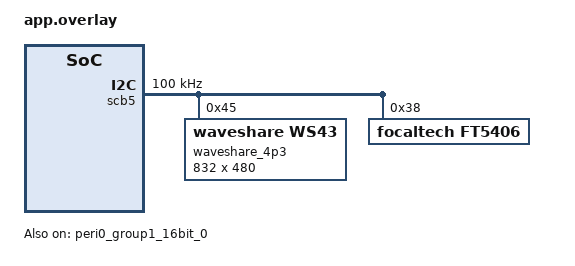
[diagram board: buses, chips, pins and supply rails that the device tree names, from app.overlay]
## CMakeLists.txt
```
cmake_minimum_required(VERSION 3.20.0)
find_package(Zephyr REQUIRED HINTS $ENV{ZEPHYR_BASE})
project(psoc_e84_kalman_horizon)

# Reuse the proven display pipeline from Chapter 017 and FT5406 driver from
# Chapter 018.  This chapter owns only the animated LVGL application.
set(DISPLAY_CHAPTER ${CMAKE_CURRENT_SOURCE_DIR}/../017_LVGL_Waveshare_4_3_Display)
set(TOUCH_CHAPTER ${CMAKE_CURRENT_SOURCE_DIR}/../018_LVGL_Waveshare_Touch_Input)
set(IFX_PDL ${ZEPHYR_HAL_INFINEON_MODULE_DIR}/mtb-dsl-pse8xxgp/pdl)
set(IFX_GFX ${IFX_PDL}/drivers/third_party/COMPONENT_GFXSS)

target_sources(app PRIVATE
  src/main.c
  src/attitude.c
  src/flight_math.c
  src/horizon_draw.c
  src/magnetometer.c
  src/sensor_bus_recovery.c
  vendor/bmm350/bmm350.c
  ${IFX_PDL}/drivers/source/cy_i3c.c
  ${TOUCH_CHAPTER}/src/ft5406_touch.c
  ${DISPLAY_CHAPTER}/src/waveshare_4p3_display.c
  ${IFX_PDL}/drivers/source/cy_mipidsi.c
  ${IFX_GFX}/cy_graphics.c
  ${IFX_GFX}/vsi/dcnano8000/DCUser/rtos/viv_dc_interface.c
  ${IFX_GFX}/vsi/dcnano8000/DCUser/rtos/viv_dc_os.c
  ${IFX_GFX}/vsi/dcnano8000/DCUser/viv_dc_setting.c
  ${IFX_GFX}/vsi/dcnano8000/DCUser/viv_dc_tools.c
  ${IFX_GFX}/vsi/dcnano8000/DCUser/viv_dc_util.c
  ${IFX_GFX}/vsi/dcnano8000/DCKernel/rtos/viv_dc_platform.c
  ${IFX_GFX}/vsi/dcnano8000/DCKernel/hardware/8000Nano/viv_dc_hardware.c
  ${IFX_GFX}/vsi/dcnano8000/DCKernel/viv_dc_core.c
  ${IFX_GFX}/vsi/dcnano8000/DCKernel/viv_dc_database.c
  ${IFX_GFX}/vsi/dcnano8000/DCKernel/dc_layer_feature.c
  ${IFX_GFX}/vsi/dcnano8000/DCKernel/viv_dc_lcd.c
  ${IFX_GFX}/vsi/dcnano8000/DCKernel/viv_dc_shell.c)

zephyr_include_directories(
  ${CMAKE_CURRENT_SOURCE_DIR}/vendor/bmm350
  ${TOUCH_CHAPTER}/src
  ${DISPLAY_CHAPTER}/src
  ${IFX_PDL}/devices/include
  ${IFX_PDL}/devices/include/ip
  ${IFX_PDL}/drivers/include
  ${IFX_GFX}
  ${IFX_GFX}/vsi/dcnano8000/include
  ${IFX_GFX}/vsi/dcnano8000/DCKernel
  ${IFX_GFX}/vsi/dcnano8000/DCKernel/hardware/8000Nano
  ${IFX_GFX}/vsi/dcnano8000/DCKernel/rtos
  ${IFX_GFX}/vsi/dcnano8000/DCUser
  ${IFX_GFX}/vsi/dcnano8000/DCUser/rtos)

target_compile_definitions(app PRIVATE
  PSE846GPS2DBZC4A COMPONENT_55500 COMPONENT_55500A1 COMPONENT_CM55
  COMPONENT_CM55_0 COMPONENT_GFXSS COMPONENT_NON_SECURE_DEVICE _BAREMETAL=0)
target_compile_options(app PRIVATE -include cy_pdl.h)
```

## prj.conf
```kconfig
CONFIG_CONSOLE=y
CONFIG_UART_CONSOLE=y
CONFIG_PRINTK=y
CONFIG_LOG=y
CONFIG_LOG_DEFAULT_LEVEL=2
CONFIG_LOG_PROCESS_THREAD_SLEEP_MS=10
CONFIG_I2C=y
CONFIG_SENSOR=y
CONFIG_BMI270=y
CONFIG_DPS310=y
CONFIG_DISPLAY=y
CONFIG_LVGL=y
CONFIG_LV_Z_AUTO_INIT=n
CONFIG_LV_Z_MEM_POOL_SIZE=65536
CONFIG_ASSERT=y
CONFIG_LV_COLOR_DEPTH_16=y
CONFIG_LV_Z_BUFFER_ALLOC_STATIC=y
CONFIG_LV_Z_VDB_ZEPHYR_REGION=y
CONFIG_LV_Z_VDB_ZEPHYR_REGION_NAME="GFX_MEM"
CONFIG_LV_Z_VDB_SIZE=100
CONFIG_LV_Z_FULL_REFRESH=y
CONFIG_LV_Z_VDB_ALIGN=128
CONFIG_LV_Z_DOUBLE_VDB=y
CONFIG_HEAP_MEM_POOL_SIZE=16384
CONFIG_MAIN_STACK_SIZE=8192
CONFIG_CRC=y
CONFIG_LV_FONT_MONTSERRAT_20=y
CONFIG_LV_FONT_MONTSERRAT_28=y
CONFIG_LV_USE_IMAGE=y
CONFIG_SPEED_OPTIMIZATIONS=y
CONFIG_PICOLIBC_IO_FLOAT=y
```

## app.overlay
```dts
/ {
	chosen { zephyr,display = &waveshare_4p3; };

	reserved-memory {
		#address-cells = <1>;
		#size-cells = <1>;
		ranges;
		gfx_mem: memory@26200000 {
			compatible = "zephyr,memory-region", "mmio-sram";
			zephyr,memory-region = "GFX_MEM";
			reg = <0x26200000 0x00300000>;
		};
	};
};

&p17_0_scb5_i2c_scl { drive-open-drain; input-enable; };
&p17_1_scb5_i2c_sda { drive-open-drain; input-enable; };
&peri0_group1_16bit_0 { status = "okay"; clock-div = <32>; };

&scb5 {
	compatible = "infineon,i2c";
	status = "okay";
	clocks = <&peri0_group1_16bit_0>;
	clock-frequency = <100000>;
	pinctrl-0 = <&p17_0_scb5_i2c_scl &p17_1_scb5_i2c_sda>;
	pinctrl-names = "default";
	#address-cells = <1>;
	#size-cells = <0>;

	waveshare_4p3: display@45 {
		compatible = "waveshare,ws43";
		reg = <0x45>;
		width = <832>;
		height = <480>;
		status = "okay";
	};

	ft5406: touch@38 {
		compatible = "focaltech,ft5406";
		reg = <0x38>;
		status = "okay";
	};
};
```

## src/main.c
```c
#include <zephyr/drivers/display.h>
#include <zephyr/drivers/sensor.h>
#include <zephyr/drivers/uart.h>
#include <zephyr/init.h>
#include <zephyr/kernel.h>
#include <zephyr/sys/crc.h>
#include <cy_sysclk.h>
#include <lvgl.h>
#include <lvgl_zephyr.h>
#include <math.h>
#include <stdio.h>
#include <string.h>
#include "attitude.h"
#include "flight_math.h"
#include "magnetometer.h"
#include "horizon_draw.h"
#include "ft5406_touch.h"
#include "waveshare_4p3_display.h"

static const struct device *display = DEVICE_DT_GET(DT_CHOSEN(zephyr_display));
static const struct device *imu = DEVICE_DT_GET(DT_ALIAS(accel0));
static const struct device *pressure = DEVICE_DT_GET(DT_ALIAS(pressure_sensor));
static K_MUTEX_DEFINE(state_lock);
static K_THREAD_STACK_DEFINE(sensor_stack, 4096);
static K_THREAD_STACK_DEFINE(mag_stack, 4096);
static K_THREAD_STACK_DEFINE(baro_stack, 2048);
static struct k_thread sensor_thread;
static struct k_thread mag_thread;
static struct k_thread baro_thread;
static struct attitude estimator;
static struct cockpit_frame frame;
static struct baro_filter baro;
struct telemetry {
    struct magnetometer_status mag;
    float roll, pitch, yaw, g, gyro[3];
    float pressure_kpa, temperature, altitude_m, climb_mps;
    float reference_kpa;
    uint32_t baro_samples, baro_errors, zeros;
    int64_t baro_ms;
    int baro_ret;
    uint32_t samples, corrections, rejected, calibration_count, calibrations;
    int64_t sample_ms;
    int ret;
    bool calibrated, calibrating, ground_frame;
};
static struct telemetry state;
static bool request_calibration = true;
static bool held;
static int64_t zero_message_until;
static uint32_t renders, raster_crc, render_us;
static uint16_t horizon_pixels[HORIZON_SIZE * HORIZON_SIZE]
    __attribute__((section("GFX_MEM"), aligned(128)));
static const lv_image_dsc_t horizon_bitmap = {
    .header = {.magic=LV_IMAGE_HEADER_MAGIC, .cf=LV_COLOR_FORMAT_RGB565,
               .w=HORIZON_SIZE, .h=HORIZON_SIZE, .stride=HORIZON_SIZE*2},
    .data_size=sizeof(horizon_pixels), .data=(const uint8_t *)horizon_pixels,
};
static lv_obj_t *horizon, *roll_label, *pitch_label, *yaw_label, *g_label;
static lv_obj_t *gyro_label, *status_label, *hold_label, *rate_label;
static lv_obj_t *mag_label, *mag_note;
static lv_obj_t *alt_label, *climb_label, *pressure_label, *baro_note;
static lv_obj_t *heading_lines[24], *heading_labels[4];
static lv_point_precise_t heading_ticks[24][2];
/* Fixed lubber marker and aircraft symbol: these are never rotated. */
static const lv_point_precise_t heading_marker[]={{70,3},{76,11},{82,3}};
static const lv_point_precise_t heading_body[]={{76,60},{76,96}};
static const lv_point_precise_t heading_wings[]={{53,78},{99,78}};
static const lv_point_precise_t heading_tail[]={{67,92},{85,92}};
static float displayed_heading;

static int display_clock_metadata_init(void)
{ Cy_SysClk_EcoSetFrequency(17203200U); return 0; }
SYS_INIT(display_clock_metadata_init, PRE_KERNEL_1, 0);

static float value(const struct sensor_value *v)
{ return (float)v->val1 + (float)v->val2 * 0.000001f; }

static struct telemetry snapshot(void)
{
    k_mutex_lock(&state_lock,K_FOREVER);
    struct telemetry copy=state;
    k_mutex_unlock(&state_lock);
    return copy;
}

static void baro_worker(void *a0, void *a1, void *a2)
{
    ARG_UNUSED(a0); ARG_UNUSED(a1); ARG_UNUSED(a2);
    int64_t previous=0,next=k_uptime_get();
    while(true) {
        struct sensor_value pv,tv;
        /* Driver conversion sleeps here, never inside the 100 Hz IMU task.
         * SCB0 driver serializes individual transfers shared with BMI270. */
        int ret=device_is_ready(pressure)?sensor_sample_fetch(pressure):-ENODEV;
        if(!ret) ret=sensor_channel_get(pressure,SENSOR_CHAN_PRESS,&pv);
        if(!ret) ret=sensor_channel_get(pressure,SENSOR_CHAN_AMBIENT_TEMP,&tv);
        int64_t now=k_uptime_get();
        k_mutex_lock(&state_lock,K_FOREVER);
        if(!ret) {
            float dt=previous?(now-previous)*0.001f:0.1f;
            if(dt>60) dt=60;
            if(baro_update(&baro,value(&pv),dt)) {
                state.pressure_kpa=value(&pv); state.temperature=value(&tv);
                state.altitude_m=baro.altitude_m; state.climb_mps=baro.climb_mps;
                state.reference_kpa=baro.reference_kpa;
                state.baro_ms=now; state.baro_samples++; previous=now;
            } else ret=-ERANGE;
        }
        state.baro_ret=ret;
        if(ret) state.baro_errors++;
        k_mutex_unlock(&state_lock);
        next+=100;
        int64_t wait=next-k_uptime_get();
        if(wait>0) k_msleep((int32_t)wait);
        else { next=k_uptime_get(); k_msleep(10); }
    }
}

static void mag_worker(void *a0, void *a1, void *a2)
{
    ARG_UNUSED(a0); ARG_UNUSED(a1); ARG_UNUSED(a2);
    /* The PDL's blocking CCC/FIFO-reset paths have their own timeout.
     * Keep them below both the IMU and UI priorities, on a dedicated bus. */
    magnetometer_init();
    while (true) {
        magnetometer_read();
        struct magnetometer_status s;
        magnetometer_status(&s);
        k_mutex_lock(&state_lock,K_FOREVER);
        state.mag=s;
        k_mutex_unlock(&state_lock);
        k_msleep(5);
    }
}

static void sample_worker(void *a0, void *a1, void *a2)
{
    ARG_UNUSED(a0); ARG_UNUSED(a1); ARG_UNUSED(a2);
    float bias[3]={0}, sums[3]={0};
    int64_t last_us=0, next_ms=k_uptime_get();
    while (true) {
        struct sensor_value av[3], wv[3];
        int ret=sensor_sample_fetch(imu);
        if (!ret) ret=sensor_channel_get(imu,SENSOR_CHAN_ACCEL_XYZ,av);
        if (!ret) ret=sensor_channel_get(imu,SENSOR_CHAN_GYRO_XYZ,wv);
        int64_t now_us=k_ticks_to_us_floor64(k_uptime_ticks());
        k_mutex_lock(&state_lock,K_FOREVER);
        state.ret=ret;
        if (!ret) {
            float acc[3], raw[3], gyro[3];
            for(int i=0;i<3;i++) { acc[i]=value(&av[i])/9.80665f; raw[i]=value(&wv[i]); }
            if (request_calibration) {
                request_calibration=false; state.calibrating=true;
                state.calibration_count=0; memset(sums,0,sizeof(sums));
            }
            float norm=sqrtf(acc[0]*acc[0]+acc[1]*acc[1]+acc[2]*acc[2]);
            float rate=sqrtf(raw[0]*raw[0]+raw[1]*raw[1]+raw[2]*raw[2]);
            if (state.calibrating) {
                if (norm>0.97f && norm<1.03f && rate<0.0873f) {
                    for(int i=0;i<3;i++) sums[i]+=raw[i];
                    if (++state.calibration_count>=100) {
                        for(int i=0;i<3;i++) bias[i]=sums[i]/100.0f;
                        state.calibrating=false; state.calibrated=true;
                        state.calibrations++;
                        attitude_reset(&estimator);
                    }
                } else { state.calibration_count=0; memset(sums,0,sizeof(sums)); }
            }
            for(int i=0;i<3;i++) gyro[i]=raw[i]-bias[i];
            cockpit_apply(&frame,acc,acc);
            cockpit_apply(&frame,gyro,gyro);
            cockpit_to_pilot(gyro,state.gyro);
            for(int i=0;i<3;i++) state.gyro[i]*=57.2957795f;
            float dt=last_us?(now_us-last_us)*0.000001f:0.01f;
            if (attitude_update(&estimator,acc,gyro,dt)) {
                float filtered[3]={estimator.roll.angle,estimator.pitch.angle,estimator.yaw};
                float pilot[3]; cockpit_to_pilot(filtered,pilot);
                state.roll=pilot[0]; state.pitch=pilot[1]; state.yaw=pilot[2];
                state.g=estimator.g;
                state.corrections+=estimator.accel_used;
                state.samples++; state.sample_ms=k_uptime_get();
            } else { state.rejected++; state.ret=-ERANGE; }
        }
        last_us=now_us;
        k_mutex_unlock(&state_lock);
        next_ms+=10;
        int64_t delay=next_ms-k_uptime_get();
        if(delay>0) k_msleep((int32_t)delay);
        else { next_ms=k_uptime_get(); k_msleep(1); }
    }
}

static bool zero_view(void)
{
    k_mutex_lock(&state_lock,K_FOREVER);
    bool valid=estimator.initialized && state.samples && !state.ret && !state.calibrating &&
               k_uptime_get()-state.sample_ms<150;
    if(valid) {
        /* Reference rotation operates in filter coordinates, not pilot signs. */
        cockpit_zero(&frame,estimator.roll.angle,estimator.pitch.angle);
        attitude_reset(&estimator);
        state.roll=state.pitch=state.yaw=0;
        state.zeros++;
        state.ground_frame=true;
        if(state.baro_samples && !state.baro_ret && k_uptime_get()-state.baro_ms<500) {
            baro_zero(&baro,state.pressure_kpa);
            state.altitude_m=state.climb_mps=0;
            state.reference_kpa=baro.reference_kpa;
        }
    }
    k_mutex_unlock(&state_lock);
    if(valid) { held=false; zero_message_until=k_uptime_get()+3000; }
    return valid;
}

static void upright_view(void)
{
    k_mutex_lock(&state_lock,K_FOREVER);
    cockpit_upright(&frame); attitude_reset(&estimator);
    state.ground_frame=false;
    k_mutex_unlock(&state_lock);
    held=false;
}
static void calibrate(void)
{
    k_mutex_lock(&state_lock,K_FOREVER);
    request_calibration=true; state.calibrating=true;
    k_mutex_unlock(&state_lock);
}
static void button_event(lv_event_t *event)
{
    intptr_t action=(intptr_t)lv_event_get_user_data(event);
    if(action==0 && !zero_view()) { printk("FAIL HORIZON ZERO_NOT_READY\n"); return; }
    if(action==1) calibrate();
    if(action==2) { held=!held; lv_label_set_text(hold_label,held?"RESUME":"HOLD VIEW"); }
    if(action==3) upright_view();
    lv_label_set_text(hold_label,held?"RESUME":"HOLD VIEW");
    printk("OK HORIZON TOUCH action=%d\n",(int)action);
}

static lv_obj_t *label(lv_obj_t *parent, const char *text, int x, int y,
                       const lv_font_t *font, uint32_t color)
{
    lv_obj_t *obj=lv_label_create(parent);
    lv_label_set_text(obj,text); lv_obj_set_pos(obj,x,y);
    lv_obj_set_style_text_font(obj,font,0);
    lv_obj_set_style_text_color(obj,lv_color_hex(color),0);
    return obj;
}
static lv_obj_t *card(lv_obj_t *screen,int x,int y,int w,int h,const char *title)
{
    lv_obj_t *obj=lv_obj_create(screen);
    lv_obj_set_pos(obj,x,y); lv_obj_set_size(obj,w,h);
    lv_obj_set_style_pad_all(obj,12,0);
    lv_obj_set_style_radius(obj,12,0);
    lv_obj_set_style_border_width(obj,1,0);
    lv_obj_set_style_border_color(obj,lv_color_hex(0x23384D),0);
    lv_obj_set_style_bg_color(obj,lv_color_hex(0x0C141F),0);
    lv_obj_remove_flag(obj,LV_OBJ_FLAG_SCROLLABLE);
    label(obj,title,0,0,LV_FONT_DEFAULT,0x7F9AB4);
    return obj;
}

static void update_heading(float heading)
{
    for(int i=0;i<24;i++) {
        float p[2];
        cockpit_card_point(heading,i*15.0f,i%6?64:59,p);
        heading_ticks[i][0]=(lv_point_precise_t){76+p[0],76+p[1]};
        cockpit_card_point(heading,i*15.0f,70,p);
        heading_ticks[i][1]=(lv_point_precise_t){76+p[0],76+p[1]};
        lv_line_set_points(heading_lines[i],heading_ticks[i],2);
        lv_obj_invalidate(heading_lines[i]);
    }
    for(int i=0;i<4;i++) {
        float p[2]; cockpit_card_point(heading,i*90.0f,47,p);
        /* Move label centres with the scale; keep text upright for readability. */
        lv_obj_set_pos(heading_labels[i],(int32_t)lroundf(76+p[0])-18,
                       (int32_t)lroundf(76+p[1])-8);
    }
    displayed_heading=heading;
}

static void fixed_heading_line(lv_obj_t *dial,const lv_point_precise_t *points,int count)
{
    lv_obj_t *line=lv_line_create(dial);
    lv_line_set_points(line,points,count);
    lv_obj_set_style_line_width(line,3,0);
    lv_obj_set_style_line_color(line,lv_color_hex(0xFFD14F),0);
}

static void create_heading(lv_obj_t *parent)
{
    lv_obj_t *dial=lv_obj_create(parent);
    lv_obj_set_pos(dial,10,23); lv_obj_set_size(dial,156,156);
    lv_obj_set_style_pad_all(dial,0,0);
    lv_obj_set_style_radius(dial,LV_RADIUS_CIRCLE,0);
    lv_obj_set_style_border_color(dial,lv_color_hex(0x34536C),0);
    lv_obj_set_style_bg_color(dial,lv_color_hex(0x08121E),0);
    lv_obj_remove_flag(dial,LV_OBJ_FLAG_SCROLLABLE);
    for(int i=0;i<24;i++) {
        lv_obj_t *line=lv_line_create(dial);
        heading_lines[i]=line;
        lv_obj_set_style_line_width(line,i%6?1:2,0);
        lv_obj_set_style_line_color(line,lv_color_hex(0x7F9AB4),0);
    }
    /* Numbers deliberately replace N/E/S/W: this is not calibrated north. */
    const char *marks[]={"000","090","180","270"};
    for(int i=0;i<4;i++) {
        heading_labels[i]=label(dial,marks[i],0,0,LV_FONT_DEFAULT,0xECF5FF);
        lv_obj_set_width(heading_labels[i],36);
        lv_obj_set_style_text_align(heading_labels[i],LV_TEXT_ALIGN_CENTER,0);
    }
    update_heading(0);
    fixed_heading_line(dial,heading_marker,3);
    fixed_heading_line(dial,heading_body,2);
    fixed_heading_line(dial,heading_wings,2);
    fixed_heading_line(dial,heading_tail,2);
}

static void create_ui(void)
{
    lv_obj_t *screen=lv_screen_active();
    lv_obj_set_style_bg_color(screen,lv_color_hex(0x060C14),0);
    lv_obj_remove_flag(screen,LV_OBJ_FLAG_SCROLLABLE);
    label(screen,"FLIGHT DECK / 020",16,12,&lv_font_montserrat_28,0xECF5FF);
    status_label=label(screen,"CALIBRATING - KEEP STILL",406,19,LV_FONT_DEFAULT,0x65E3D2);
    rate_label=label(screen,"EDUCATIONAL DEMO / NOT FOR FLIGHT",406,39,LV_FONT_DEFAULT,0x7F9AB4);
    lv_obj_t *c=card(screen,12,64,200,248,"DIRECTION / GYRO");
    create_heading(c);
    yaw_label=label(c,"000.0 deg",32,180,&lv_font_montserrat_20,0xFFD14F);
    label(c,"Relative only - drifts",0,207,LV_FONT_DEFAULT,0x7F9AB4);
    c=card(screen,12,320,200,92,"TURN RATE / G-LOAD");
    gyro_label=label(c,"Z +0.0 deg/s",0,24,&lv_font_montserrat_20,0x9DE9E0);
    g_label=label(c,"1.00 g",0,50,&lv_font_montserrat_20,0xECF5FF);
    horizon=lv_image_create(screen); lv_image_set_src(horizon,&horizon_bitmap);
    lv_obj_set_pos(horizon,224,56);
    roll_label=label(screen,"BANK +0.0",228,400,LV_FONT_DEFAULT,0x5EDBEC);
    pitch_label=label(screen,"PITCH +0.0",422,400,LV_FONT_DEFAULT,0xFFD14F);
    c=card(screen,588,64,200,128,"REL ALT / BARO EST.");
    alt_label=label(c,"-- m",0,25,&lv_font_montserrat_28,0xECF5FF);
    climb_label=label(c,"-- m/s",0,61,&lv_font_montserrat_20,0x5EDBEC);
    baro_note=label(c,"Waiting for DPS368",0,92,LV_FONT_DEFAULT,0x7F9AB4);
    c=card(screen,588,200,200,84,"PRESSURE / TEMP");
    pressure_label=label(c,"-- hPa\n-- C",0,24,LV_FONT_DEFAULT,0x9DE9E0);
    c=card(screen,588,292,200,120,"MAGNETIC NORTH");
    mag_label=label(c,"I3C STARTING",0,21,LV_FONT_DEFAULT,0x65E3D2);
    mag_note=label(c,"Not calibrated\nHeading unavailable",0,43,LV_FONT_DEFAULT,0x7F9AB4);
    label(c,"AIRSPEED: NO SENSOR",0,80,LV_FONT_DEFAULT,0x7F9AB4);
    const char *names[]={"SET GROUND ZERO","CAL GYRO","HOLD VIEW","UPRIGHT DEFAULT"};
    const int x[]={12,268,440,612},w[]={244,160,160,176};
    for(int i=0;i<4;i++) {
        lv_obj_t *b=lv_button_create(screen);
        lv_obj_set_pos(b,x[i],430); lv_obj_set_size(b,w[i],40);
        lv_obj_set_style_bg_color(b,lv_color_hex(i==0?0x126C83:0x173147),0);
        lv_obj_set_style_radius(b,9,0);
        lv_obj_add_event_cb(b,button_event,LV_EVENT_CLICKED,(void *)(intptr_t)i);
        lv_obj_t *text=label(b,names[i],0,0,LV_FONT_DEFAULT,0xECF5FF);
        lv_obj_center(text); if(i==2) hold_label=text;
    }
}

static void update_ui(void)
{
    struct telemetry s=snapshot();
    bool stale=k_uptime_get()-s.sample_ms>150 || s.ret;
    bool mag_live=s.mag.ready && s.mag.samples && !s.mag.ret && k_uptime_get()-s.mag.sample_ms<250;
    char mag_text[80];
    lv_label_set_text(mag_label,mag_live?(s.mag.field_high?"BLOCKED: HIGH FIELD":"NOT CALIBRATED"):"I3C NO DATA");
    lv_obj_set_style_text_color(mag_label,lv_color_hex(mag_live && !s.mag.field_high?0x65E3D2:0xFFD14F),0);
    if(mag_live) snprintf(mag_text,sizeof(mag_text),"Field %.0f uT\nNorth unavailable",
              (double)sqrtf(s.mag.xyz[0]*s.mag.xyz[0]+s.mag.xyz[1]*s.mag.xyz[1]+s.mag.xyz[2]*s.mag.xyz[2]));
    else snprintf(mag_text,sizeof(mag_text),"Error %d / samples %u",s.mag.ret,s.mag.samples);
    lv_label_set_text(mag_note,mag_text);
    lv_label_set_text(status_label,stale?"IMU DATA STALE":s.calibrating?
                      "CALIBRATING - KEEP STILL":held?"VIEW HELD / FUSION LIVE":
                      k_uptime_get()<zero_message_until?"GROUND ZERO SET":
                      s.ground_frame?"KALMAN LIVE / GROUND REFERENCE":"KALMAN LIVE / UPRIGHT FRAME");
    bool baro_live=s.baro_samples && !s.baro_ret && k_uptime_get()-s.baro_ms<500;
    lv_label_set_text(baro_note,baro_live?"Climb estimate / m/s":"BARO STALE / NO DATA");
    if(!baro_live) {
        lv_label_set_text(alt_label,"-- m"); lv_label_set_text(climb_label,"-- m/s");
        lv_label_set_text(pressure_label,"-- hPa\n-- C");
    }
    if(held || stale || !s.samples) return;
    uint32_t begin=k_cycle_get_32();
    float roll=s.roll,pitch=s.pitch;
    horizon_draw(horizon_pixels,roll,pitch);
    raster_crc=crc32_ieee((const uint8_t *)horizon_pixels,sizeof(horizon_pixels));
    lv_obj_invalidate(horizon);
    char buf[100];
    snprintf(buf,sizeof(buf),"BANK %+.1f deg",(double)roll); lv_label_set_text(roll_label,buf);
    snprintf(buf,sizeof(buf),"PITCH %+.1f deg",(double)pitch); lv_label_set_text(pitch_label,buf);
    float heading=cockpit_heading(s.yaw);
    snprintf(buf,sizeof(buf),"%05.1f deg",(double)heading); lv_label_set_text(yaw_label,buf);
    update_heading(heading);
    snprintf(buf,sizeof(buf),"%.2f g",(double)s.g); lv_label_set_text(g_label,buf);
    snprintf(buf,sizeof(buf),"Z %+.1f deg/s",(double)s.gyro[2]);
    lv_label_set_text(gyro_label,buf);
    if(baro_live) {
        snprintf(buf,sizeof(buf),"%+.1f m",(double)s.altitude_m); lv_label_set_text(alt_label,buf);
        snprintf(buf,sizeof(buf),"%+.2f m/s",(double)s.climb_mps); lv_label_set_text(climb_label,buf);
        snprintf(buf,sizeof(buf),"%.1f hPa\n%.1f C",(double)s.pressure_kpa*10,(double)s.temperature);
        lv_label_set_text(pressure_label,buf);
    }
    static int64_t previous; static uint32_t count;
    int64_t now=k_uptime_get();
    if(now-previous>=1000) {
        snprintf(buf,sizeof(buf),"%u Hz / EDUCATIONAL - NOT FOR FLIGHT",(unsigned)((s.samples-count)*1000/(now-previous)));
        lv_label_set_text(rate_label,buf); previous=now; count=s.samples;
    }
    renders++; render_us=k_cyc_to_us_floor32(k_cycle_get_32()-begin);
}

static void status(const char *token)
{
    struct telemetry s=snapshot(); struct ft5406_status touch; struct waveshare_status d;
    ft5406_get_status(&touch); int display_ret=waveshare_get_status(display,&d);
    printk("OK HORIZON STATUS token=%s samples=%u corrections=%u rejected=%u renders=%u "
           "roll10=%d pitch10=%d yaw10=%d g100=%d cal=%u calibrating=%u calibrations=%u held=%u "
           "age_ms=%lld touch=%u touches=%u compass=%s crc=%08x render_us=%u display_ret=%d ret=%d "
           "frame=%s zeros=%u baro_samples=%u baro_errors=%u baro_age_ms=%lld baro_ret=%d "
           "pressure_pa=%d temperature100=%d altitude100=%d climb100=%d reference_pa=%d "
           "convention=pilot_v2 heading10=%u turn10=%d heading_style=rotating_card card_heading10=%u\n",
           token,s.samples,s.corrections,s.rejected,renders,
           (int)(s.roll*10),(int)(s.pitch*10),
           (int)(s.yaw*10),(int)(s.g*100),s.calibrated,s.calibrating,s.calibrations,held,
           (long long)(k_uptime_get()-s.sample_ms),touch.ready,touch.touches,
           s.mag.ready && s.mag.samples && !s.mag.ret && k_uptime_get()-s.mag.sample_ms<250?"live":"unavailable",raster_crc,render_us,
           display_ret,s.ret?s.ret:touch.last_error,s.ground_frame?"ground":"upright",s.zeros,s.baro_samples,s.baro_errors,
           (long long)(k_uptime_get()-s.baro_ms),s.baro_ret,
           (int)(s.pressure_kpa*1000),(int)(s.temperature*100),
           (int)(s.altitude_m*100),(int)(s.climb_mps*100),(int)(s.reference_kpa*1000),
           (unsigned)lroundf(cockpit_heading(s.yaw)*10),(int)(s.gyro[2]*10),
           (unsigned)lroundf(displayed_heading*10));
}
static void compass_status(const char *token)
{
    struct telemetry s=snapshot(); struct magnetometer_status *m=&s.mag;
    printk("OK COMPASS STATUS token=%s ready=%u chip_id=%02x address=%02x samples=%u errors=%u "
           "transfers=%u clock_hz=%u bus=%08x age_ms=%lld x100=%d y100=%d z100=%d temp100=%d field_high=%u ret=%d\n",
           token,m->ready,m->chip_id,m->address,m->samples,m->errors,m->transfers,m->clock_hz,m->bus_status,
           (long long)(k_uptime_get()-m->sample_ms),(int)(m->xyz[0]*100),(int)(m->xyz[1]*100),
           (int)(m->xyz[2]*100),(int)(m->temperature*100),m->field_high,m->ret);
}
static void command(char *text)
{
    char cmd[16],token[40],extra;
    if(sscanf(text,"horizon %15s %39s %c",cmd,token,&extra)!=2) {
        printk("FAIL HORIZON COMMAND\n"); return;
    }
    if(!strcmp(cmd,"compass")) { compass_status(token); return; }
    if(!strcmp(cmd,"zero")) {
        if(!zero_view()) { printk("FAIL HORIZON ZERO_NOT_READY token=%s\n",token); return; }
    }
    else if(!strcmp(cmd,"upright")) upright_view();
    else if(!strcmp(cmd,"calibrate")) calibrate();
    else if(!strcmp(cmd,"hold")) held=true;
    else if(!strcmp(cmd,"live")) held=false;
    else if(strcmp(cmd,"info")) { printk("FAIL HORIZON COMMAND token=%s\n",token); return; }
    lv_label_set_text(hold_label,held?"RESUME":"HOLD VIEW"); status(token);
}

int main(void)
{
    const struct device *uart=DEVICE_DT_GET(DT_CHOSEN(zephyr_console));
    if(!device_is_ready(display)||!device_is_ready(imu)) {
        printk("FAIL HORIZON DEVICES display_ready=%u imu_ready=%u\n",
               device_is_ready(display),device_is_ready(imu));
        return 0;
    }
    const struct sensor_value hz={.val1=100};
    int ret=sensor_attr_set(imu,SENSOR_CHAN_ACCEL_XYZ,SENSOR_ATTR_SAMPLING_FREQUENCY,&hz);
    if(!ret) ret=sensor_attr_set(imu,SENSOR_CHAN_GYRO_XYZ,SENSOR_ATTR_SAMPLING_FREQUENCY,&hz);
    if(ret) { printk("FAIL HORIZON IMU_INIT ret=%d\n",ret); return 0; }
    ret=lvgl_init();
    if(ret || !lv_display_get_default()) { printk("FAIL HORIZON LVGL_INIT\n"); return 0; }
    if(ft5406_init()) { printk("FAIL HORIZON TOUCH_INIT\n"); return 0; }
    ft5406_lvgl_register();
    cockpit_upright(&frame);
    k_thread_priority_set(k_current_get(),5);
    k_thread_create(&sensor_thread,sensor_stack,K_THREAD_STACK_SIZEOF(sensor_stack),sample_worker,
                    NULL,NULL,NULL,2,0,K_NO_WAIT);
    state.mag.ret=-EAGAIN;
    k_thread_create(&mag_thread,mag_stack,K_THREAD_STACK_SIZEOF(mag_stack),mag_worker,
                    NULL,NULL,NULL,6,0,K_NO_WAIT);
    state.baro_ret=-EAGAIN;
    k_thread_create(&baro_thread,baro_stack,K_THREAD_STACK_SIZEOF(baro_stack),baro_worker,
                    NULL,NULL,NULL,6,0,K_NO_WAIT);
    horizon_draw(horizon_pixels,0,0); create_ui(); update_ui(); lv_refr_now(NULL);
    if(display_blanking_off(display)) { printk("FAIL HORIZON BACKLIGHT\n"); return 0; }
    printk("OK HORIZON INITIALIZATION_SUCCESS kalman=1 frame=upright convention=pilot_v2 accel=1 gyro=1 compass=initializing baro=initializing\n");
    char line[96]; size_t used=0; bool overflow=false; int64_t next=0;
    while(true) {
        ft5406_poll();
        if(k_uptime_get()>=next) { update_ui(); next=k_uptime_get()+33; }
        unsigned char c;
        while(uart_poll_in(uart,&c)==0) {
            if(c=='\r'||c=='\n') {
                if(overflow) printk("FAIL HORIZON COMMAND_TOO_LONG\n");
                else if(used) { line[used]='\0'; command(line); }
                used=0; overflow=false;
            } else if(used<sizeof(line)-1) line[used++]=c;
            else overflow=true;
        }
        lv_timer_handler(); k_msleep(2);
    }
}
```

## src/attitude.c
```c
#include "attitude.h"
#include <math.h>
#include <string.h>
#define DEG 57.2957795131f
#define RAD (1.0f / DEG)

float attitude_wrap(float a)
{
    a = fmodf(a + 180.0f, 360.0f);
    if (a < 0) a += 360.0f;
    return a - 180.0f;
}

void attitude_reset(struct attitude *s) { memset(s, 0, sizeof(*s)); }

static void kalman(struct angle_kalman *k, float rate, float measured, float dt, bool correct)
{
    k->angle = attitude_wrap(k->angle + dt * (rate - k->bias));
    /* State [angle, gyro bias], covariance propagated by F=[1,-dt;0,1]. */
    k->p00 += dt * (dt * k->p11 - k->p01 - k->p10 + 0.02f);
    k->p01 -= dt * k->p11;
    k->p10 -= dt * k->p11;
    k->p11 += 0.003f * dt;
    if (!correct) return;
    float innovation = attitude_wrap(measured - k->angle);
    float variance = k->p00 + 2.0f;
    float k0 = k->p00 / variance, k1 = k->p10 / variance;
    k->angle = attitude_wrap(k->angle + k0 * innovation);
    k->bias += k1 * innovation;
    float p00 = k->p00, p01 = k->p01;
    k->p00 -= k0 * p00; k->p01 -= k0 * p01;
    k->p10 -= k1 * p00; k->p11 -= k1 * p01;
}

bool attitude_update(struct attitude *s, const float a[3], const float w[3], float dt)
{
    for (int i = 0; i < 3; ++i)
        if (!isfinite(a[i]) || !isfinite(w[i])) return false;
    if (!isfinite(dt) || dt <= 0 || dt > 0.1f) return false;
    float norm = sqrtf(a[0]*a[0] + a[1]*a[1] + a[2]*a[2]);
    if (norm < 0.01f) return false;
    float roll_acc = atan2f(a[1], a[2]) * DEG;
    float pitch_acc = atan2f(-a[0], sqrtf(a[1]*a[1] + a[2]*a[2])) * DEG;
    s->g = norm;
    s->accel_used = norm > 0.85f && norm < 1.15f;
    if (!s->initialized) {
        if (!s->accel_used) return false;
        s->roll.angle = roll_acc; s->pitch.angle = pitch_acc;
        s->roll.p00 = s->pitch.p00 = 1.0f;
        s->roll.p11 = s->pitch.p11 = 1.0f;
        s->initialized = true;
        return true;
    }
    float phi = s->roll.angle * RAD;
    /* Euler rates are singular at pitch +/-90: limit rate conversion near
     * vertical; accelerometer correction remains available. */
    float theta = fmaxf(-80.0f, fminf(80.0f, s->pitch.angle)) * RAD;
    float sp = sinf(phi), cp = cosf(phi), ct = cosf(theta);
    float cross = w[1] * sp + w[2] * cp;
    float roll_rate = (w[0] + tanf(theta) * cross) * DEG;
    float pitch_rate = (w[1] * cp - w[2] * sp) * DEG;
    kalman(&s->roll, roll_rate, roll_acc, dt, s->accel_used);
    kalman(&s->pitch, pitch_rate, pitch_acc, dt, s->accel_used);
    s->yaw = attitude_wrap(s->yaw + dt * cross / ct * DEG);
    return isfinite(s->roll.angle) && isfinite(s->pitch.angle) && isfinite(s->yaw);
}
```

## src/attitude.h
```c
#ifndef ATTITUDE_H
#define ATTITUDE_H
#include <stdbool.h>
struct angle_kalman { float angle, bias, p00, p01, p10, p11; };
struct attitude {
    struct angle_kalman roll, pitch;
    float yaw, g;
    bool initialized, accel_used;
};
void attitude_reset(struct attitude *s);
/* Acceleration in g, gyro in rad/s, dt in seconds. Output angles in degrees.
 * Inputs must already share the chosen right-handed body frame:
 * X-roll/Y-pitch/Z-yaw, with resting specific force +Z at level. */
bool attitude_update(struct attitude *s, const float a[3], const float w[3], float dt);
float attitude_wrap(float angle);
#endif
```

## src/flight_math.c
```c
#include "flight_math.h"
#include <math.h>
#include <string.h>
#define RAD 0.017453292519943f

void cockpit_upright(struct cockpit_frame *f)
{
    /* Normal landscape, top edge up: native gravity (0,-1,0).
     * Filter X=-native Z, Y=native X, Z=-native Y. Rotate BEFORE fusion.
     * Pilot-facing signs are converted separately by cockpit_to_pilot(). */
    const float r[9]={0,0,-1, 1,0,0, 0,-1,0};
    memcpy(f->r,r,sizeof(r));
}

void cockpit_apply(const struct cockpit_frame *f, const float native[3], float body[3])
{
    float out[3]={0};
    for(int i=0;i<3;i++) for(int j=0;j<3;j++) out[i]+=f->r[3*i+j]*native[j];
    memcpy(body,out,sizeof(out));
}

void cockpit_to_pilot(const float filter[3], float pilot[3])
{
    /* Change both body/world attitude conventions via conjugation with
     * D=diag(1,-1,-1): D Rz(yaw) Ry(pitch) Rx(bank) D becomes
     * Rz(-yaw) Ry(-pitch) Rx(bank). Body rates transform by D as well.
     * Keep the proper sensor rotation and +Z-gravity filter unchanged. */
    pilot[0]=filter[0]; pilot[1]=-filter[1]; pilot[2]=-filter[2];
}

float cockpit_heading(float yaw)
{
    /* Normalize AFTER rounding so 359.96 does not print as 360.0. */
    float tenth=fmodf(roundf(yaw*10.0f),3600.0f);
    if(tenth<0) tenth+=3600.0f;
    return tenth==0?0:tenth*0.1f;
}

void cockpit_card_point(float heading, float mark, float radius, float xy[2])
{
    float angle=(mark-heading)*RAD;
    xy[0]=radius*sinf(angle); xy[1]=-radius*cosf(angle);
}

void cockpit_zero(struct cockpit_frame *f, float roll, float pitch)
{
    /* R_y(pitch) R_x(roll) maps the current estimated gravity to +Z.
     * Compose rotations, never subtract Euler angles at the display. */
    float cr=cosf(roll*RAD),sr=sinf(roll*RAD),cp=cosf(pitch*RAD),sp=sinf(pitch*RAD);
    float q[9]={cp,sp*sr,sp*cr, 0,cr,-sr, -sp,cp*sr,cp*cr}, out[9]={0};
    for(int i=0;i<3;i++) for(int j=0;j<3;j++) for(int k=0;k<3;k++)
        out[3*i+j]+=q[3*i+k]*f->r[3*k+j];
    memcpy(f->r,out,sizeof(out));
}

static bool valid_pressure(float p) { return isfinite(p) && p>=30.0f && p<=120.0f; }

bool baro_zero(struct baro_filter *s, float p)
{
    if(!valid_pressure(p)) return false;
    s->reference_kpa=p; s->altitude_m=0; s->climb_mps=0; s->initialized=true;
    return true;
}

bool baro_update(struct baro_filter *s, float p, float dt)
{
    if(!valid_pressure(p) || !isfinite(dt) || dt<=0 || dt>60.0f) return false;
    if(!s->initialized) return baro_zero(s,p);
    /* Standard-atmosphere pressure-ratio estimate, not surveyed altitude/AGL.
     * 0.5 s height LPF followed by 1.5 s derivative LPF limits sensor noise. */
    float height=44330.0f*(1.0f-powf(p/s->reference_kpa,0.19029496f));
    /* Following a data gap, preserve ground pressure but do not differentiate
     * across the missing samples (which would invent a climb-rate spike). */
    if(dt>2.0f) { s->altitude_m=height; s->climb_mps=0; return true; }
    float delta=dt/(0.5f+dt)*(height-s->altitude_m);
    s->altitude_m+=delta;
    s->climb_mps+=dt/(1.5f+dt)*(delta/dt-s->climb_mps);
    return true;
}
```

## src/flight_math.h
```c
#ifndef FLIGHT_MATH_H
#define FLIGHT_MATH_H
#include <stdbool.h>

/* Proper rotation (determinant +1), applied equally to acceleration and gyro. */
struct cockpit_frame { float r[9]; };
void cockpit_upright(struct cockpit_frame *f);
void cockpit_apply(const struct cockpit_frame *f, const float native[3], float body[3]);
void cockpit_zero(struct cockpit_frame *f, float roll_deg, float pitch_deg);
/* Filter-to-pilot convention: bank unchanged, pitch/yaw reversed. Applies
 * to Euler angles and body angular rates; NOT to accelerometer vectors.
 * Ground zero must continue using the original filter angles. */
void cockpit_to_pilot(const float filter[3], float pilot[3]);
/* Rounded display heading, always 0.0..359.9 degrees (including at wrap). */
float cockpit_heading(float yaw_deg);
/* Heading-up card coordinates relative to its centre. The card rotates
 * opposite the heading; a mark equal to heading is always at twelve o'clock. */
void cockpit_card_point(float heading_deg, float mark_deg, float radius, float xy[2]);

struct baro_filter {
    float reference_kpa, altitude_m, climb_mps;
    bool initialized;
};
bool baro_update(struct baro_filter *s, float pressure_kpa, float dt);
bool baro_zero(struct baro_filter *s, float pressure_kpa);
#endif
```

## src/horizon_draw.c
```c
#include "horizon_draw.h"
#include <math.h>
#define C (HORIZON_SIZE / 2)
#define R (C - 6)
#define RAD 0.01745329252f
static uint16_t *image;
static uint16_t palette[1025];
static int palette_ready;
static uint16_t rgb(int r, int g, int b)
{ return (uint16_t)(((r >> 3) << 11) | ((g >> 2) << 5) | (b >> 3)); }
static void pixel(int x, int y, uint16_t color)
{
    if (x < 0 || y < 0 || x >= HORIZON_SIZE || y >= HORIZON_SIZE) return;
    if ((x-C)*(x-C)+(y-C)*(y-C) > (R-2)*(R-2)) return;
    image[y * HORIZON_SIZE + x] = color;
}
static void line(int x0, int y0, int x1, int y1, uint16_t color, int thick)
{
    int dx = x1 > x0 ? x1-x0 : x0-x1, sx = x0 < x1 ? 1 : -1;
    int dy = y1 > y0 ? y0-y1 : y1-y0, sy = y0 < y1 ? 1 : -1;
    int err = dx+dy;
    for (;;) {
        for (int y = 0; y < thick; ++y)
            for (int x = 0; x < thick; ++x) pixel(x0+x, y0+y, color);
        if (x0 == x1 && y0 == y1) break;
        int e = 2*err;
        if (e >= dy) { err += dy; x0 += sx; }
        if (e <= dx) { err += dx; y0 += sy; }
    }
}
static const unsigned char digits[10][5] = {
    {7,5,5,5,7},{2,6,2,2,7},{7,1,7,4,7},{7,1,7,1,7},{5,5,7,1,1},
    {7,4,7,1,7},{7,4,7,5,7},{7,1,1,1,1},{7,5,7,5,7},{7,5,7,1,7}
};
static void number(int x, int y, int n)
{
    int nums[2] = {n/10,n%10};
    for (int d=0; d<2; ++d)
        for (int yy=0; yy<5; ++yy)
            for (int xx=0; xx<3; ++xx)
                if (digits[nums[d]][yy] & (4 >> xx))
                    for(int j=0;j<2;j++) for(int i=0;i<2;i++) pixel(x+d*8+xx*2+i,y+yy*2+j,0xffff);
}
void horizon_draw(uint16_t *pixels, float bank, float pitch)
{
    image = pixels;
    if (!palette_ready) {
        for (int i=0;i<1025;i++) {
            int v=i-512;
            palette[i]=v<0 ? rgb(26,100+(int)fminf(55,-v/3.0f),190+(int)fminf(50,-v/4.0f)) :
                             rgb(126-(int)fminf(50,v/4.0f),75-(int)fminf(30,v/6.0f),42);
        }
        palette_ready=1;
    }
    bank = fmaxf(-180, fminf(180, bank)); pitch = fmaxf(-70, fminf(70, pitch));
    float sn = sinf(bank*RAD), cs = cosf(bank*RAD), offset = pitch*2.5f;
    uint16_t rim = rgb(59,83,106), bg = rgb(12,20,31);
    for (int y=0; y<HORIZON_SIZE; ++y) {
        float vertical = (y-C)*cs-offset-C*sn;
        for (int x=0; x<HORIZON_SIZE; ++x,vertical+=sn) {
            int r2 = (x-C)*(x-C)+(y-C)*(y-C);
            uint16_t color = bg;
            if (r2 <= R*R) {
                if (r2 >= (R-3)*(R-3)) color = rim;
                else if (fabsf(vertical) < 1.1f) color=0xffff;
                else {
                    int index=(int)vertical+512;
                    if(index<0) index=0;
                    if(index>1024) index=1024;
                    color=palette[index];
                }
            }
            pixels[y*HORIZON_SIZE+x]=color;
        }
    }
    /* Pitch ladder turns with the horizon, beneath the fixed aircraft. */
    for (int deg=-40; deg<=40; deg+=10) {
        if (!deg) continue;
        float y=offset-deg*2.5f;
        int half=deg%20 == 0 ? 48 : 28;
        int x0=(int)(C-half*cs+y*sn), y0=(int)(C+half*sn+y*cs);
        int x1=(int)(C+half*cs+y*sn), y1=(int)(C-half*sn+y*cs);
        line(x0,y0,x1,y1,0xffff,1);
        if (fabsf(y)<110) number(x1+6,y1-5,deg<0?-deg:deg);
    }
    for(int deg=-60;deg<=60;deg+=10) {
        float a=deg*RAD;
        int len=deg%30==0?14:7;
        line(C+(int)(sinf(a)*(R-10)),C-(int)(cosf(a)*(R-10)),
             C+(int)(sinf(a)*(R-10-len)),C-(int)(cosf(a)*(R-10-len)),0xffff,2);
    }
    uint16_t gold=rgb(255,209,79);
    float a=-bank*RAD;
    int bx=C+(int)(sinf(a)*(R-34)), by=C-(int)(cosf(a)*(R-34));
    line(bx-5,by+5,bx,by-4,gold,2); line(bx,by-4,bx+5,by+5,gold,2);
    line(C-85,C,C-26,C,gold,3); line(C-26,C,C-26,C+10,gold,3);
    line(C+26,C,C+85,C,gold,3); line(C+26,C,C+26,C+10,gold,3);
    line(C-5,C,C+5,C,gold,3);
}
```

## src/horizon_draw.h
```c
#ifndef HORIZON_DRAW_H
#define HORIZON_DRAW_H
#include <stdint.h>
#define HORIZON_SIZE 344
void horizon_draw(uint16_t *pixels, float bank_deg, float pitch_deg);
#endif
```

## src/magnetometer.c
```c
/* SPDX-License-Identifier: Apache-2.0 */
#include <zephyr/kernel.h>
#include <cy_pdl.h>
#include <math.h>
#include <string.h>
#include "bmm350.h"
#include "magnetometer.h"

/* Board-default routing, 1.8 V: P3.0=SCL, P3.1=SDA; P6.4=MAG_INT.
 * Dedicated PDL backend until Zephyr has an Infineon I3C controller driver.
 * Poll the PDL interrupt handler with NVIC disabled: a single worker owns
 * the controller, and every asynchronous transfer has a deadline.
 */
static cy_stc_i3c_context_t bus;
static cy_stc_i3c_device_t target;
static struct bmm350_dev sensor;
static struct magnetometer_status state;
static int64_t operation_deadline;

static int transfer_poll(uint8_t *data, uint32_t size, bool read)
{
    if (k_uptime_get() >= operation_deadline) return -ETIMEDOUT;
    cy_stc_i3c_controller_xfer_config_t xfer = {
        .targetAddress=target.dynamicAddress, .buffer=data,
        .bufferSize=size, .toc=true,
    };
    cy_en_i3c_status_t ret = read ? Cy_I3C_ControllerRead(I3C_CORE,&xfer,&bus) :
                                  Cy_I3C_ControllerWrite(I3C_CORE,&xfer,&bus);
    if (ret != CY_I3C_SUCCESS) return -EIO;
    int64_t deadline=k_uptime_get()+20;
    while (true) {
        Cy_I3C_Interrupt(I3C_CORE,&bus);
        state.bus_status=Cy_I3C_GetBusStatus(I3C_CORE,&bus);
        if (!(state.bus_status & CY_I3C_CONTROLLER_BUSY)) {
            uint32_t expected=read?CY_I3C_CONTROLLER_I3C_SDR_RD_XFER:
                                   CY_I3C_CONTROLLER_I3C_SDR_WR_XFER;
            if (state.bus_status == expected) { state.transfers++; return 0; }
            break;
        }
        /* Service completion once after any preemption before evaluating
         * the deadline; elapsed wall time alone is not a hardware error. */
        if(k_uptime_get()>=deadline) break;
        k_busy_wait(10);
    }
    printk("WARN COMPASS TRANSFER read=%u size=%u bus=%08x\n",read,size,state.bus_status);
    Cy_I3C_ControllerAbortTransfer(I3C_CORE,&bus);
    Cy_I3C_Resume(I3C_CORE,&bus);
    return -EIO;
}

static int transfer(uint8_t *data, uint32_t size, bool read)
{
    /* Only the bounded polled transfer outranks graphics, not the long PDL
     * CCC/init delays. Otherwise a full-frame refresh can consume its entire
     * 20 ms budget before FIFO/completion service runs. IMU remains higher. */
    int priority=k_thread_priority_get(k_current_get());
    k_thread_priority_set(k_current_get(),3);
    int ret=transfer_poll(data,size,read);
    k_thread_priority_set(k_current_get(),priority);
    return ret;
}

static int8_t read_reg(uint8_t reg, uint8_t *data, uint32_t size, void *ctx)
{
    ARG_UNUSED(ctx);
    if (transfer(&reg,1,false)) return -1;
    return transfer(data,size,true)?-1:0;
}
static int8_t write_reg(uint8_t reg, const uint8_t *data, uint32_t size, void *ctx)
{
    ARG_UNUSED(ctx);
    uint8_t buffer[32];
    if (size>sizeof(buffer)-1) return -1;
    buffer[0]=reg; memcpy(buffer+1,data,size);
    return transfer(buffer,size+1,false)?-1:0;
}
static void delay_us(uint32_t us, void *ctx)
{
    ARG_UNUSED(ctx);
    if(us>=1000) k_usleep(us); else k_busy_wait(us);
}

int magnetometer_init(void)
{
    memset(&state,0,sizeof(state));
    state.ret=-ENODEV;
    printk("INFO COMPASS INIT stage=clock\n");
    Cy_SysClk_PeriGroupSlaveInit(CY_MMIO_I3C_PERI_NR,CY_MMIO_I3C_GROUP_NR,
                               CY_MMIO_I3C_SLAVE_NR,CY_MMIO_I3C_CLK_HF_NR);
    /* Dedicated I3C peripheral clock, not an SCB divider. */
    Cy_SysClk_PeriPclkDisableDivider(PCLK_I3C_CLOCK_I3C_EN,CY_SYSCLK_DIV_8_BIT,0);
    Cy_SysClk_PeriPclkSetDivider(PCLK_I3C_CLOCK_I3C_EN,CY_SYSCLK_DIV_8_BIT,0,0);
    Cy_SysClk_PeriPclkAssignDivider(PCLK_I3C_CLOCK_I3C_EN,CY_SYSCLK_DIV_8_BIT,0);
    Cy_SysClk_PeriPclkEnableDivider(PCLK_I3C_CLOCK_I3C_EN,CY_SYSCLK_DIV_8_BIT,0);
    state.clock_hz=Cy_SysClk_PeriPclkGetFrequency(PCLK_I3C_CLOCK_I3C_EN,CY_SYSCLK_DIV_8_BIT,0);
    printk("INFO COMPASS INIT clock_hz=%u\n",state.clock_hz);
    if(state.clock_hz!=100000000) { state.ret=-EINVAL; return state.ret; }
    cy_stc_gpio_pin_config_t pin={
        .outVal=1,.driveMode=CY_GPIO_DM_CFGOUT3_STRONG_PULLUP_HIGHZ,
        .hsiom=P3_0_I3C_I3C_SCL,.vtrip=CY_GPIO_VTRIP_CMOS,
        .slewRate=CY_GPIO_SLEW_FAST,.driveSel=CY_GPIO_DRIVE_1_2,
        .pullUpRes=CY_GPIO_PULLUP_RES_1800,.nonSec=1,
    };
    Cy_GPIO_Pin_Init(GPIO_PRT3,0,&pin);
    pin.hsiom=P3_1_I3C_I3C_SDA;
    Cy_GPIO_Pin_Init(GPIO_PRT3,1,&pin);
    /* No external INT needed for this first version: data ready is polled. */
    cy_stc_i3c_config_t config={
        .i3cMode=CY_I3C_CONTROLLER,.i3cBusMode=CY_I3C_BUS_PURE,
        .manualDataRate=true,.i3cClockHz=100000000,.i3cSclRate=10000000,
        .openDrainSclRate=2500000,.dynamicAddr=8,.cmdQueueEmptyThld=1,
        .ibiDataThld=15,.sdaHoldTime=1,.busFreeTime=32,
        /* 200 ns OD high satisfies BMM350's 160 ns minimum. */
        .openDrainHighCnt=20,.openDrainLowCnt=20,
        .pushPullHighCnt=5,.pushPullLowCnt=5,
        .txEmptyBufThld=CY_I3C_1_WORD_DEPTH,.rxBufThld=CY_I3C_1_WORD_DEPTH,
        .txBufStartThld=CY_I3C_1_WORD_DEPTH,.rxBufStartThld=CY_I3C_1_WORD_DEPTH,
    };
    irq_disable(i3c_interrupt_IRQn);
    cy_en_i3c_status_t ret=Cy_I3C_Init(I3C_CORE,&config,&bus);
    if(ret) goto fail;
    Cy_I3C_Enable(I3C_CORE,&bus);
    cy_stc_i3c_ccc_payload_t payload={0};
    cy_stc_i3c_ccc_cmd_t ccc={.address=CY_I3C_BROADCAST_ADDR,
        .cmd=CY_I3C_CCC_RSTDAA(true),.data=&payload};
    ret=Cy_I3C_SendCCCCmd(I3C_CORE,&ccc,&bus);
    printk("INFO COMPASS INIT stage=rstdaa pdl=%08x\n",ret);
    if(ret) goto fail;
    target=(cy_stc_i3c_device_t){.staticAddress=0x15};
    ret=Cy_I3C_ControllerAttachI3CDevice(I3C_CORE,&target,&bus);
    printk("INFO COMPASS INIT stage=setdasa pdl=%08x address=%02x\n",ret,target.dynamicAddress);
    if(ret) goto fail;
    state.address=target.dynamicAddress;
    sensor=(struct bmm350_dev){.read=read_reg,.write=write_reg,.delay_us=delay_us};
    operation_deadline=k_uptime_get()+3000;
    /* A warm MCU reset leaves the sensor running with its OTP powered off.
     * Reset it explicitly, THEN restore I3C addressing before Bosch init.
     * Merely skipping the API's reset only works on a fresh power-on. */
    uint8_t reset=BMM350_CMD_SOFTRESET;
    if(bmm350_set_regs(BMM350_REG_CMD,&reset,1,&sensor)) goto fail;
    k_msleep(30);
    Cy_I3C_DeInit(I3C_CORE,&bus);
    ret=Cy_I3C_Init(I3C_CORE,&config,&bus);
    if(ret) goto fail;
    Cy_I3C_Enable(I3C_CORE,&bus);
    ret=Cy_I3C_SendCCCCmd(I3C_CORE,&ccc,&bus);
    if(ret) goto fail;
    target=(cy_stc_i3c_device_t){.staticAddress=0x15};
    ret=Cy_I3C_ControllerAttachI3CDevice(I3C_CORE,&target,&bus);
    printk("INFO COMPASS INIT stage=reset_readdress pdl=%08x address=%02x\n",ret,target.dynamicAddress);
    if(ret) goto fail;
    state.address=target.dynamicAddress;
    operation_deadline=k_uptime_get()+3000;
    int result=bmm350_init(&sensor);
    state.chip_id=sensor.chip_id;
    printk("INFO COMPASS INIT stage=sensor ret=%d chip_id=%02x bus=%08x\n",result,state.chip_id,state.bus_status);
    if(!result) result=bmm350_configure_interrupt(BMM350_PULSED,BMM350_ACTIVE_HIGH,
                   BMM350_INTR_PUSH_PULL,BMM350_UNMAP_FROM_PIN,&sensor);
    if(!result) result=bmm350_enable_interrupt(BMM350_ENABLE_INTERRUPT,&sensor);
    if(!result) result=bmm350_set_odr_performance(BMM350_DATA_RATE_25HZ,BMM350_AVERAGING_8,&sensor);
    if(!result) result=bmm350_enable_axes(BMM350_X_EN,BMM350_Y_EN,BMM350_Z_EN,&sensor);
    if(!result) result=bmm350_set_powermode(BMM350_NORMAL_MODE,&sensor);
    state.ret=result? -EIO:0; state.ready=!result;
    printk("%s COMPASS INIT chip_id=%02x address=%02x ret=%d\n",result?"FAIL":"OK",
           state.chip_id,state.address,state.ret);
    return state.ret;
fail:
    state.ret=-EIO;
    printk("FAIL COMPASS INIT pdl=%08x\n",ret);
    return state.ret;
}

int magnetometer_read(void)
{
    if(!state.ready) return state.ret;
    operation_deadline=k_uptime_get()+100;
    uint8_t ready=0;
    int ret=bmm350_get_regs(BMM350_REG_INT_STATUS,&ready,1,&sensor);
    if(!ret && !(ready & BMM350_DRDY_DATA_REG_MSK)) return -EAGAIN;
    struct bmm350_mag_temp_data data;
    if(!ret) ret=bmm350_get_compensated_mag_xyz_temp_data(&data,&sensor);
    if(!ret && isfinite(data.x) && isfinite(data.y) && isfinite(data.z) && isfinite(data.temperature)) {
        state.xyz[0]=data.x; state.xyz[1]=data.y; state.xyz[2]=data.z;
        /* Application warning only, not a calibration or a sensor fault. */
        state.field_high=data.x*data.x+data.y*data.y+data.z*data.z > 100.0f*100.0f;
        state.temperature=data.temperature; state.samples++; state.sample_ms=k_uptime_get();
        state.ret=0;
    } else {
        state.errors++; state.ret=-EIO;
        /* Fail closed after a transport error; do not reuse uncertain bus
         * state or pending buffer pointers. A board reset reinitializes it. */
        state.ready=false;
    }
    return state.ret;
}
void magnetometer_status(struct magnetometer_status *out) { *out=state; }
```

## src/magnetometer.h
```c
/* SPDX-License-Identifier: Apache-2.0 */
#pragma once
#include <stdbool.h>
#include <stdint.h>

struct magnetometer_status {
    float xyz[3], temperature;
    uint32_t samples, errors, transfers, clock_hz, bus_status;
    int64_t sample_ms;
    int ret;
    uint8_t chip_id, address;
    bool ready, field_high;
};
/* Single-owner API: call init/read only from the sensor worker. */
int magnetometer_init(void);
int magnetometer_read(void);
void magnetometer_status(struct magnetometer_status *out);
```
